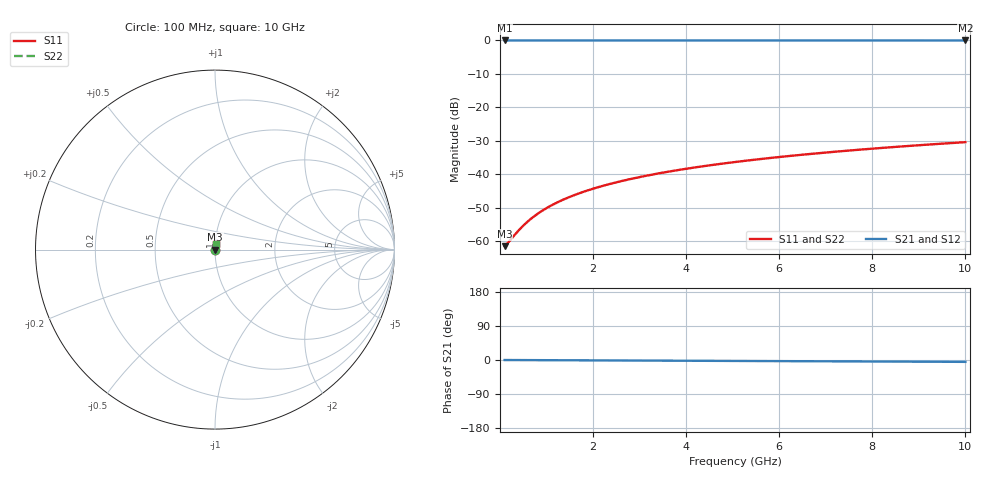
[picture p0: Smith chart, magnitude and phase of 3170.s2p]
# Hz S RI R 50.00
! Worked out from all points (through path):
!   100 points, 100 MHz to 10 GHz, reference 50 ohm
!   highest |S21| = -0.01 dB at 100 MHz (marker M1); lowest = 0.0 dB at 10 GHz (marker M2)
!   lowest |S11| = -61.5 dB at 100 MHz (marker M3), VSWR 1.00, Z = 50.1 + j0.0301 ohm
!   |S11| at or under -10 dB: start of sweep to end of sweep
!   |S22| runs from -61.5 to -30.4 dB; largest |S21 - S12| = 0
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1e8  0.000786 0.0003  0.9992 -0.000857  0.9992 -0.000857  0.000786 0.0003
2e8  0.000791 0.0006  0.9992 -0.00171  0.9992 -0.00171  0.000791 0.0006
4e8  0.000801 0.0012  0.9992 -0.00343  0.9992 -0.00343  0.000801 0.0012
5e8  0.000806 0.0015  0.9992 -0.00428  0.9992 -0.00428  0.000806 0.0015
6e8  0.000811 0.0018  0.9992 -0.00514  0.9992 -0.00514  0.000811 0.0018
7e8  0.000816 0.0021  0.9992 -0.006  0.9992 -0.006  0.000816 0.0021
8e8  0.000821 0.0024  0.9992 -0.00685  0.9992 -0.00685  0.000821 0.0024
1e9  0.000834 0.003  0.9991 -0.00857  0.9991 -0.00857  0.000834 0.003
1.2e9  0.000848 0.0036  0.9991 -0.0103  0.9991 -0.0103  0.000848 0.0036
1.5e9  0.000872 0.0045  0.9991 -0.0129  0.9991 -0.0129  0.000872 0.0045
1.8e9  0.000901 0.0054  0.999 -0.0154  0.999 -0.0154  0.000901 0.0054
2.1e9  0.000933 0.0063  0.999 -0.018  0.999 -0.018  0.000933 0.0063
2.5e9  0.000984 0.0075  0.9989 -0.0214  0.9989 -0.0214  0.000984 0.0075
2.9e9  0.00104 0.0087  0.9988 -0.0249  0.9988 -0.0249  0.00104 0.0087
3.4e9  0.00113 0.0102  0.9987 -0.0291  0.9987 -0.0291  0.00113 0.0102
4.2e9  0.00129 0.0126  0.9984 -0.036  0.9984 -0.036  0.00129 0.0126
5.1e9  0.00151 0.0153  0.9981 -0.0437  0.9981 -0.0437  0.00151 0.0153
5.9e9  0.00174 0.0177  0.9977 -0.0506  0.9977 -0.0506  0.00174 0.0177
6.7e9  0.00201 0.0201  0.9973 -0.0575  0.9973 -0.0575  0.00201 0.0201
7.5e9  0.00231 0.0225  0.9968 -0.0644  0.9968 -0.0644  0.00231 0.0225
8.4e9  0.00268 0.0252  0.9962 -0.0721  0.9962 -0.0721  0.00268 0.0252
1e10  0.00346 0.03  0.9949 -0.0859  0.9949 -0.0859  0.00346 0.03
